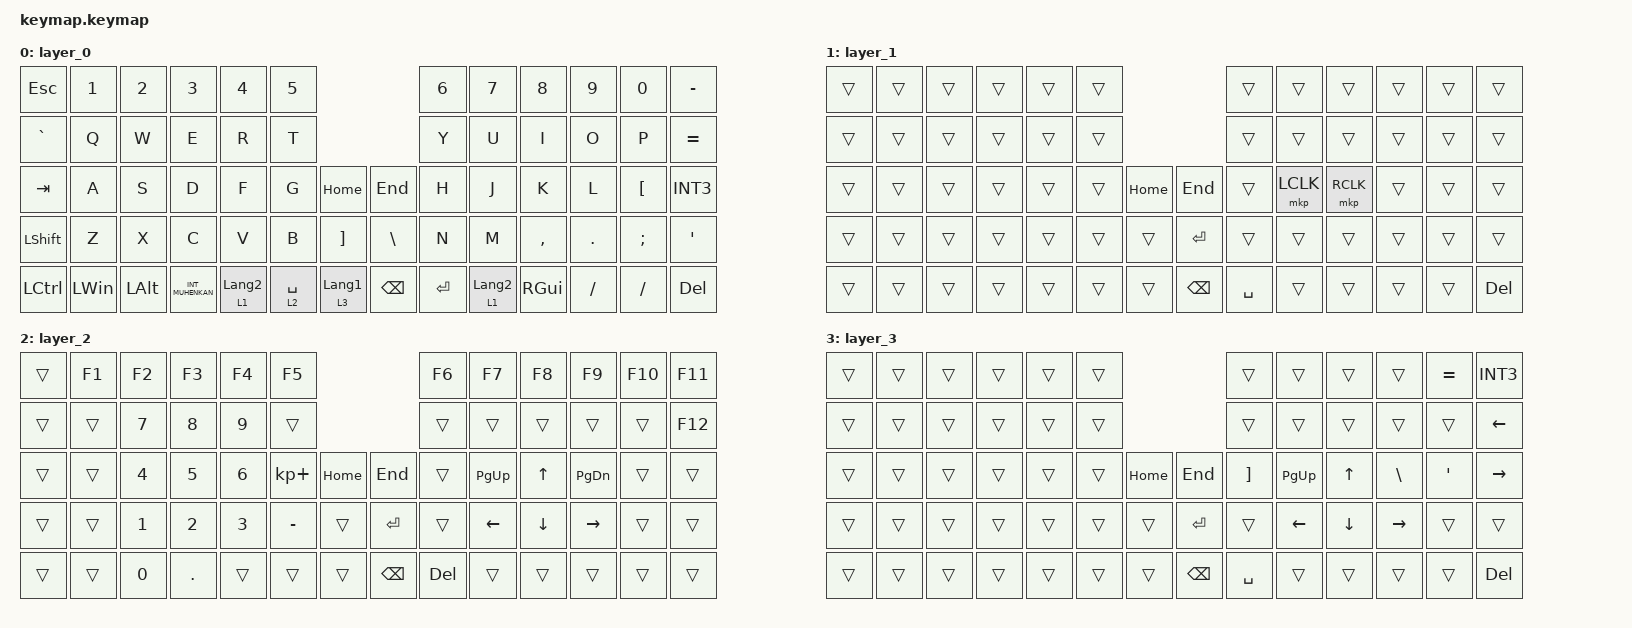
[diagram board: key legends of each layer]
#include <behaviors.dtsi>
#include <dt-bindings/zmk/bt.h>
#include <dt-bindings/zmk/keys.h>
#include <dt-bindings/zmk/pointing.h>

/ {
    combos {
        compatible = "zmk,combos";

        bt_clear {
            bindings = <&bt BT_CLR>;
            key-positions = <28 29>;
            layers = <3>;
        };
    };

    keymap {
        compatible = "zmk,keymap";

        layer_0 {
            bindings = <
&kp ESC    &kp N1        &kp N2    &kp N3            &kp N4            &kp N5                                   &kp N6     &kp N7            &kp N8     &kp N9     &kp N0         &kp MINUS
&kp GRAVE  &kp Q         &kp W     &kp E             &kp R             &kp T                                    &kp Y      &kp U             &kp I      &kp O      &kp P          &kp EQUAL
&kp TAB    &kp A         &kp S     &kp D             &kp F             &kp G        &kp HOME          &kp END   &kp H      &kp J             &kp K      &kp L      &kp LBKT       &kp INT3
&kp LSHFT  &kp Z         &kp X     &kp C             &kp V             &kp B        &kp RBKT          &kp BSLH  &kp N      &kp M             &kp COMMA  &kp DOT    &kp SEMICOLON  &kp SQT
&kp LCTRL  &kp LEFT_WIN  &kp LALT  &kp INT_MUHENKAN  &lt 1 LANGUAGE_2  &lt 2 SPACE  &lt 3 LANGUAGE_1  &kp BSPC  &kp ENTER  &lt 1 LANGUAGE_2  &kp RGUI   &kp SLASH  &kp SLASH      &kp DELETE
            >;
        };

        layer_1 {
            bindings = <
&trans  &trans  &trans  &trans  &trans  &trans                           &trans     &trans     &trans     &trans  &trans  &trans
&trans  &trans  &trans  &trans  &trans  &trans                           &trans     &trans     &trans     &trans  &trans  &trans
&trans  &trans  &trans  &trans  &trans  &trans  &kp HOME  &kp END        &trans     &mkp LCLK  &mkp RCLK  &trans  &trans  &trans
&trans  &trans  &trans  &trans  &trans  &trans  &trans    &kp ENTER      &trans     &trans     &trans     &trans  &trans  &trans
&trans  &trans  &trans  &trans  &trans  &trans  &trans    &kp BACKSPACE  &kp SPACE  &trans     &trans     &trans  &trans  &kp DELETE
            >;
        };

        layer_2 {
            bindings = <
&trans  &kp F1  &kp F2  &kp F3   &kp F4  &kp F5                                &kp F6      &kp F7       &kp F8        &kp F9         &kp F10  &kp F11
&trans  &trans  &kp N7  &kp N8   &kp N9  &trans                                &trans      &trans       &trans        &trans         &trans   &kp F12
&trans  &trans  &kp N4  &kp N5   &kp N6  &kp KP_PLUS  &kp HOME  &kp END        &trans      &kp PAGE_UP  &kp UP_ARROW  &kp PAGE_DOWN  &trans   &trans
&trans  &trans  &kp N1  &kp N2   &kp N3  &kp MINUS    &trans    &kp ENTER      &trans      &kp LEFT     &kp DOWN      &kp RIGHT      &trans   &trans
&trans  &trans  &kp N0  &kp DOT  &trans  &trans       &trans    &kp BACKSPACE  &kp DELETE  &trans       &trans        &trans         &trans   &trans
            >;
        };

        layer_3 {
            bindings = <
&trans  &trans  &trans  &trans  &trans  &trans                       &trans     &trans       &trans        &trans     &kp EQUAL  &kp INT3
&trans  &trans  &trans  &trans  &trans  &trans                       &trans     &trans       &trans        &trans     &trans     &kp LEFT
&trans  &trans  &trans  &trans  &trans  &trans  &kp HOME  &kp END    &kp RBKT   &kp PAGE_UP  &kp UP_ARROW  &kp BSLH   &kp SQT    &kp RIGHT
&trans  &trans  &trans  &trans  &trans  &trans  &trans    &kp ENTER  &trans     &kp LEFT     &kp DOWN      &kp RIGHT  &trans     &trans
&trans  &trans  &trans  &trans  &trans  &trans  &trans    &kp BSPC   &kp SPACE  &trans       &trans        &trans     &trans     &kp DELETE
            >;
        };
    };
};
